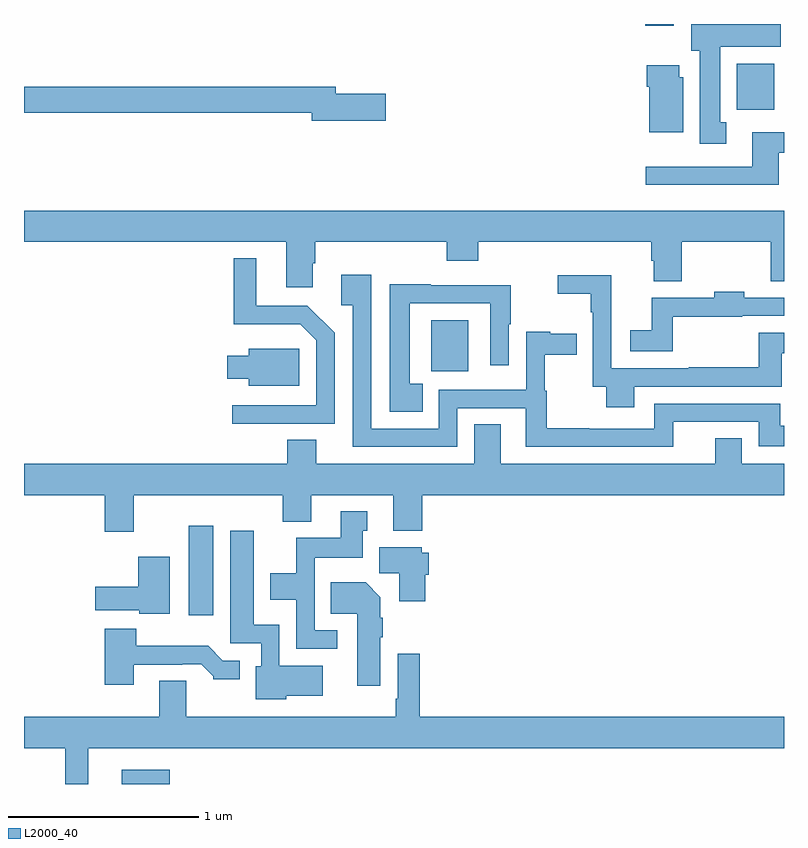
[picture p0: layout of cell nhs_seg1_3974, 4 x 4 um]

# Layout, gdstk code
import gdstk
lib = gdstk.Library(unit=1e-6, precision=1e-09)
def R(c, l, rs):  # rectangles x0, y0, x1, y1
    for r in rs: c.add(gdstk.rectangle(r[:2], r[2:], *l))
def P(c, l, *ps):  # polygons
    for p in ps: c.add(gdstk.Polygon(p, *l))
L2000_40 = (2000, 40)

nhs_seg1_3974 = lib.new_cell('nhs_seg1_3974')
R(nhs_seg1_3974, L2000_40, [(327.515,562.199,327.766,562.273), (327.866,563.088,327.997,563.557), (329.144,564.372,329.338,564.64), (330.752,565.748,330.949,565.99), (330.269,566.19,330.421,566.199)])
P(nhs_seg1_3974, L2000_40, [(330.697,565.682),(330.664,565.682),(330.664,566.078),(330.982,566.078),(330.982,566.199),(330.512,566.199),(330.512,566.058),(330.557,566.058),(330.557,565.569),(330.697,565.569)],
  [(330.469,565.92),(330.448,565.92),(330.448,565.981),(330.278,565.981),(330.278,565.868),(330.29,565.868),(330.29,565.628),(330.469,565.628)],
  [(328.903,565.832),(328.642,565.832),(328.642,565.868),(327,565.868),(327,565.732),(328.514,565.732),(328.514,565.69),(328.903,565.69)],
  [(330.973,565.521),(331,565.521),(331,565.63),(330.833,565.63),(330.833,565.449),(330.273,565.449),(330.273,565.352),(330.973,565.352)],
  [(327,565.052),(328.379,565.052),(328.379,564.813),(328.519,564.813),(328.519,564.941),(328.532,564.941),(328.532,565.052),(329.225,565.052),(329.225,564.953),(329.39,564.953),(329.39,565.052),(330.302,565.052),(330.302,564.954),(330.314,564.954),(330.314,564.844),(330.462,564.844),(330.462,565.052),(330.931,565.052),(330.931,564.844),(331,564.844),(331,565.216),(327,565.216)],
  [(328.635,564.574),(328.492,564.717),(328.222,564.717),(328.222,564.967),(328.105,564.967),(328.105,564.62),(328.453,564.62),(328.539,564.534),(328.539,564.192),(328.095,564.192),(328.095,564.096),(328.635,564.096)],
  [(329.28,564.177),(329.642,564.177),(329.642,563.973),(330.417,563.973),(330.417,564.105),(330.867,564.105),(330.867,563.976),(331,563.976),(331,564.085),(330.979,564.085),(330.979,564.201),(330.318,564.201),(330.318,564.069),(329.975,564.069),(329.975,564.072),(329.752,564.072),(329.752,564.27),(329.742,564.27),(329.742,564.459),(329.908,564.459),(329.908,564.569),(329.771,564.569),(329.771,564.58),(329.643,564.58),(329.643,564.273),(329.184,564.273),(329.184,564.069),(328.827,564.069),(328.827,564.88),(328.671,564.88),(328.671,564.719),(328.731,564.719),(328.731,563.973),(329.28,563.973)],
  [(330.211,564.291),(330.988,564.291),(330.988,564.465),(331,564.465),(331,564.573),(330.867,564.573),(330.867,564.392),(330.499,564.392),(330.499,564.387),(330.092,564.387),(330.092,564.877),(329.808,564.877),(329.808,564.779),(329.982,564.779),(329.982,564.683),(329.994,564.683),(329.994,564.289),(330.064,564.289),(330.064,564.182),(330.211,564.182)],
  [(329.099,564.305),(329.029,564.305),(329.029,564.729),(329.454,564.729),(329.454,564.402),(329.55,564.402),(329.55,564.618),(329.563,564.618),(329.563,564.825),(329.141,564.825),(329.141,564.828),(328.925,564.828),(328.925,564.158),(329.099,564.158)],
  [(330.415,564.658),(330.78,564.658),(330.78,564.663),(331,564.663),(331,564.759),(330.792,564.759),(330.792,564.79),(330.632,564.79),(330.632,564.759),(330.305,564.759),(330.305,564.586),(330.192,564.586),(330.192,564.476),(330.415,564.476)],
  [(328.449,564.49),(328.184,564.49),(328.184,564.454),(328.07,564.454),(328.07,564.332),(328.184,564.332),(328.184,564.296),(328.449,564.296)],
  [(327.577,563.72),(328.361,563.72),(328.361,563.579),(328.513,563.579),(328.513,563.72),(328.943,563.72),(328.943,563.531),(329.096,563.531),(329.096,563.72),(331,563.72),(331,563.884),(330.778,563.884),(330.778,564.02),(330.638,564.02),(330.638,563.884),(329.509,563.884),(329.509,564.092),(329.369,564.092),(329.369,563.884),(328.537,563.884),(328.537,564.011),(328.385,564.011),(328.385,563.884),(327,563.884),(327,563.72),(327.425,563.72),(327.425,563.526),(327.577,563.526)],
  [(328.648,563.007),(328.53,563.007),(328.53,563.39),(328.783,563.39),(328.783,563.532),(328.807,563.532),(328.807,563.635),(328.667,563.635),(328.667,563.494),(328.432,563.494),(328.432,563.308),(328.295,563.308),(328.295,563.168),(328.434,563.168),(328.434,562.911),(328.648,562.911)],
  [(328.38,562.664),(328.573,562.664),(328.573,562.822),(328.344,562.822),(328.344,563.038),(328.21,563.038),(328.21,563.533),(328.085,563.533),(328.085,562.941),(328.248,562.941),(328.248,562.818),(328.22,562.818),(328.22,562.646),(328.38,562.646)],
  [(329.111,563.301),(329.129,563.301),(329.129,563.415),(329.094,563.415),(329.094,563.446),(328.871,563.446),(328.871,563.308),(328.976,563.308),(328.976,563.16),(329.111,563.16)],
  [(327.766,563.395),(327.602,563.395),(327.602,563.236),(327.375,563.236),(327.375,563.114),(327.606,563.114),(327.606,563.096),(327.766,563.096)],
  [(328.876,562.972),(328.889,562.972),(328.889,563.075),(328.876,563.075),(328.876,563.182),(328.798,563.26),(328.615,563.26),(328.615,563.096),(328.754,563.096),(328.754,562.716),(328.876,562.716)],
  [(327.577,562.827),(327.833,562.827),(327.833,562.83),(327.932,562.83),(327.996,562.766),(327.996,562.751),(328.135,562.751),(328.135,562.848),(328.047,562.848),(327.969,562.927),(327.59,562.927),(327.59,563.017),(327.425,563.017),(327.425,562.722),(327.577,562.722)],
  [(327.337,562.388),(331,562.388),(331,562.552),(329.084,562.552),(329.084,562.885),(328.968,562.885),(328.968,562.648),(328.956,562.648),(328.956,562.552),(327.853,562.552),(327.853,562.742),(327.713,562.742),(327.713,562.552),(327,562.552),(327,562.388),(327.216,562.388),(327.216,562.199),(327.337,562.199)])

lib.write_gds('nhs_seg1_3974.gds')
